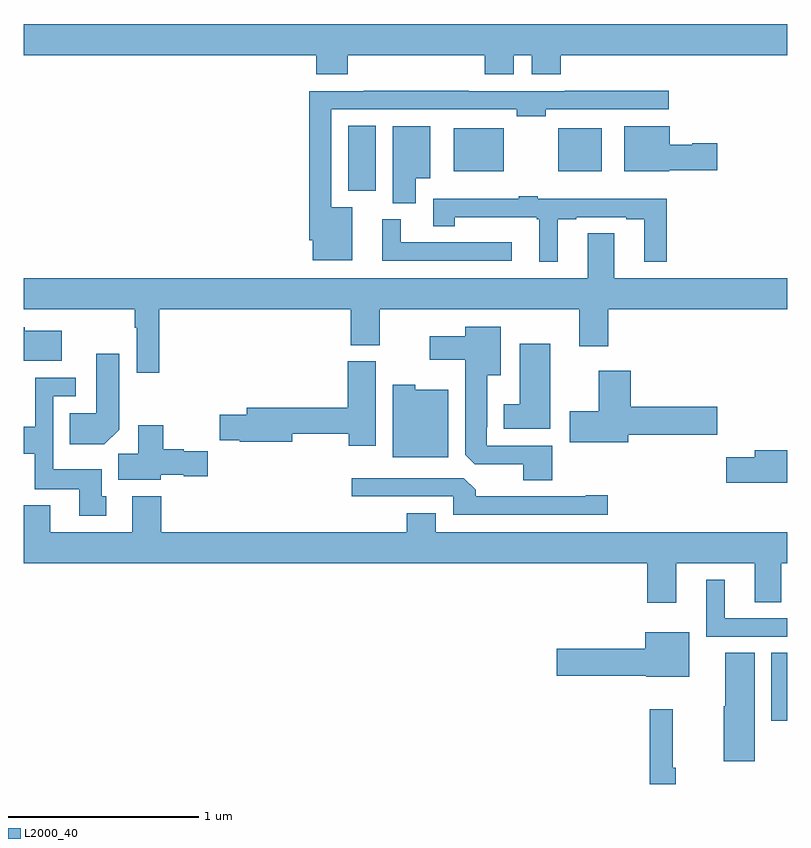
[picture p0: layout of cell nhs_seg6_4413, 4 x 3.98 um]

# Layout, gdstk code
import gdstk
lib = gdstk.Library(unit=1e-6, precision=1e-09)
def R(c, l, rs):  # rectangles x0, y0, x1, y1
    for r in rs: c.add(gdstk.rectangle(r[:2], r[2:], *l))
def P(c, l, *ps):  # polygons
    for p in ps: c.add(gdstk.Polygon(p, *l))
L2000_40 = (2000, 40)

nhs_seg6_4413 = lib.new_cell('nhs_seg6_4413')
R(nhs_seg6_4413, L2000_40, [(374.918,959.832,375,960.188), (372.701,962.609,372.844,962.951), (373.253,962.711,373.516,962.938), (373.802,962.711,374.029,962.938)])
P(nhs_seg6_4413, L2000_40, [(371,963.32),(372.533,963.32),(372.533,963.221),(372.698,963.221),(372.698,963.32),(373.415,963.32),(373.415,963.221),(373.567,963.221),(373.567,963.32),(373.661,963.32),(373.661,963.221),(373.814,963.221),(373.814,963.32),(375,963.32),(375,963.484),(371,963.484)],
  [(372.721,962.524),(372.612,962.524),(372.612,963.036),(373.584,963.036),(373.584,963.001),(373.734,963.001),(373.734,963.036),(374.38,963.036),(374.38,963.134),(373.834,963.134),(373.834,963.132),(373.331,963.132),(373.331,963.134),(372.781,963.134),(372.781,963.132),(372.496,963.132),(372.496,962.35),(372.515,962.35),(372.515,962.246),(372.721,962.246)],
  [(374.382,962.717),(374.635,962.717),(374.635,962.859),(374.502,962.859),(374.502,962.851),(374.386,962.851),(374.386,962.947),(374.147,962.947),(374.147,962.711),(374.382,962.711)],
  [(373.054,962.675),(373.129,962.675),(373.129,962.947),(372.932,962.947),(372.932,962.545),(373.054,962.545)],
  [(373.798,962.46),(373.894,962.46),(373.894,962.472),(374.156,962.472),(374.156,962.46),(374.252,962.46),(374.252,962.237),(374.369,962.237),(374.369,962.569),(373.694,962.569),(373.694,962.581),(373.594,962.581),(373.594,962.569),(373.146,962.569),(373.146,962.425),(373.259,962.425),(373.259,962.471),(373.689,962.471),(373.689,962.46),(373.7,962.46),(373.7,962.237),(373.798,962.237)],
  [(373.558,962.34),(372.976,962.34),(372.976,962.46),(372.878,962.46),(372.878,962.244),(373.558,962.244)],
  [(371.708,961.988),(372.713,961.988),(372.713,961.801),(372.865,961.801),(372.865,961.988),(373.91,961.988),(373.91,961.794),(374.063,961.794),(374.063,961.988),(375,961.988),(375,962.152),(374.095,962.152),(374.095,962.387),(373.955,962.387),(373.955,962.152),(371,962.152),(371,961.988),(371.58,961.988),(371.58,961.892),(371.592,961.892),(371.592,961.656),(371.708,961.656)],
  [(373.769,961.272),(373.425,961.272),(373.425,961.369),(373.429,961.369),(373.429,961.643),(373.498,961.643),(373.498,961.897),(373.313,961.897),(373.313,961.846),(373.128,961.846),(373.128,961.724),(373.313,961.724),(373.313,961.225),(373.362,961.176),(373.616,961.176),(373.616,961.093),(373.769,961.093)],
  [(371.197,961.876),(371.004,961.876),(371.004,961.894),(371,961.894),(371,961.718),(371.197,961.718)],
  [(373.759,961.807),(373.598,961.807),(373.598,961.492),(373.514,961.492),(373.514,961.361),(373.759,961.361)],
  [(371.5,961.358),(371.5,961.756),(371.378,961.756),(371.378,961.444),(371.239,961.444),(371.239,961.28),(371.422,961.28)],
  [(372.844,961.716),(372.698,961.716),(372.698,961.472),(372.167,961.472),(372.167,961.436),(372.025,961.436),(372.025,961.302),(372.13,961.302),(372.13,961.294),(372.406,961.294),(372.406,961.336),(372.703,961.336),(372.703,961.272),(372.844,961.272)],
  [(374.167,961.331),(374.635,961.331),(374.635,961.478),(374.18,961.478),(374.18,961.666),(374.012,961.666),(374.012,961.455),(373.86,961.455),(373.86,961.292),(374.167,961.292)],
  [(371.431,961.008),(371.407,961.008),(371.407,961.15),(371.154,961.15),(371.154,961.533),(371.272,961.533),(371.272,961.629),(371.058,961.629),(371.058,961.372),(371,961.372),(371,961.232),(371.056,961.232),(371.056,961.046),(371.291,961.046),(371.291,960.906),(371.431,960.906)],
  [(373.225,961.567),(373.05,961.567),(373.05,961.594),(372.932,961.594),(372.932,961.214),(373.225,961.214)],
  [(371.718,961.121),(371.838,961.121),(371.838,961.114),(371.963,961.114),(371.963,961.244),(371.838,961.244),(371.838,961.256),(371.73,961.256),(371.73,961.381),(371.6,961.381),(371.6,961.232),(371.495,961.232),(371.495,961.094),(371.718,961.094)],
  [(375,961.25),(374.831,961.25),(374.831,961.214),(374.682,961.214),(374.682,961.079),(375,961.079)],
  [(374.059,961.013),(373.946,961.013),(373.946,961.008),(373.367,961.008),(373.367,961.042),(373.305,961.104),(372.717,961.104),(372.717,961.008),(373.251,961.008),(373.251,960.912),(374.059,960.912)],
  [(373.159,960.919),(373.007,960.919),(373.007,960.82),(371.72,960.82),(371.72,961.009),(371.567,961.009),(371.567,960.82),(371.137,960.82),(371.137,960.961),(371,960.961),(371,960.656),(374.267,960.656),(374.267,960.45),(374.419,960.45),(374.419,960.656),(374.831,960.656),(374.831,960.454),(374.971,960.454),(374.971,960.656),(375,960.656),(375,960.82),(373.159,960.82)],
  [(375,960.369),(374.674,960.369),(374.674,960.571),(374.576,960.571),(374.576,960.273),(375,960.273)],
  [(374.488,960.295),(374.258,960.295),(374.258,960.21),(373.794,960.21),(373.794,960.068),(374.262,960.068),(374.262,960.062),(374.488,960.062)],
  [(374.83,960.188),(374.675,960.188),(374.675,959.907),(374.669,959.907),(374.669,959.619),(374.83,959.619)],
  [(374.417,959.584),(374.402,959.584),(374.402,959.893),(374.281,959.893),(374.281,959.5),(374.417,959.5)])

lib.write_gds('nhs_seg6_4413.gds')
